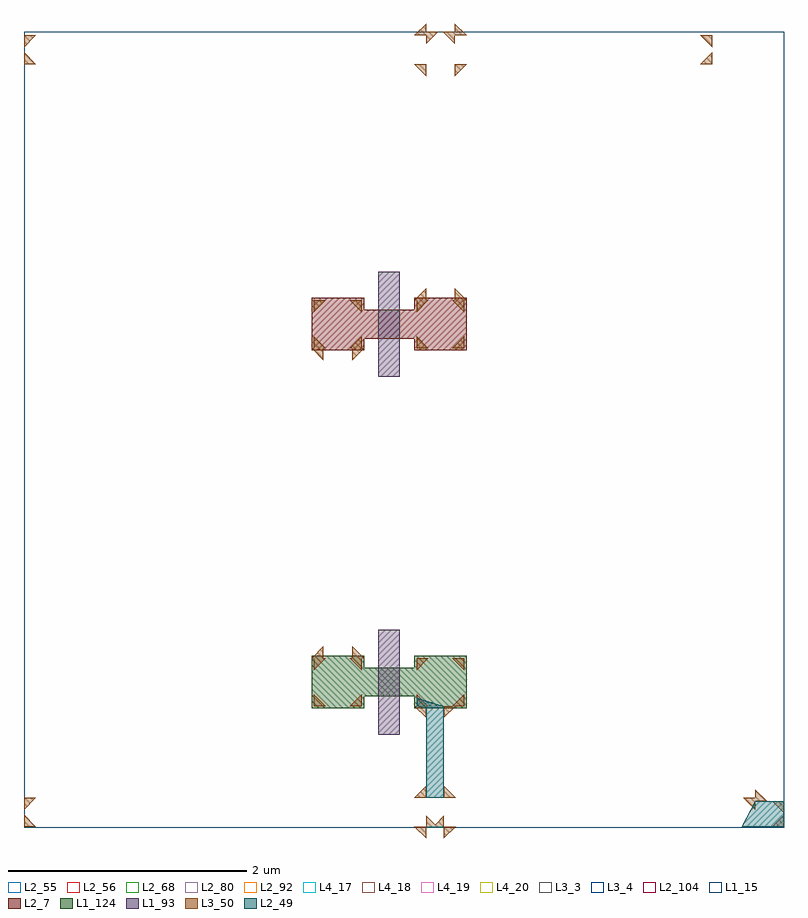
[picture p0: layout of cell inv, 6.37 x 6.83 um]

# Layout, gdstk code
import gdstk
lib = gdstk.Library(unit=1e-6, precision=1e-09)
def R(c, l, rs):  # rectangles x0, y0, x1, y1
    for r in rs: c.add(gdstk.rectangle(r[:2], r[2:], *l))
def P(c, l, *ps):  # polygons
    for p in ps: c.add(gdstk.Polygon(p, *l))
L1_15 = (1, 15)
L1_93 = (1, 93)
L1_124 = (1, 124)
L2_7 = (2, 7)
L2_49 = (2, 49)
L2_55 = (2, 55)
L2_56 = (2, 56)
L2_68 = (2, 68)
L2_80 = (2, 80)
L2_92 = (2, 92)
L2_104 = (2, 104)
L3_3 = (3, 3)
L3_4 = (3, 4)
L3_50 = (3, 50)
L4_17 = (4, 17)
L4_18 = (4, 18)
L4_19 = (4, 19)
L4_20 = (4, 20)

inv = lib.new_cell('inv')
P(inv, L1_124, [(3.04,1.46),(3.48,1.46),(3.48,1.56),(3.9,1.56),(3.9,1.46),(4.34,1.46),(4.34,1.9),(3.9,1.9),(3.9,1.8),(3.48,1.8),(3.48,1.9),(3.04,1.9)])
P(inv, L2_7, [(3.04,4.46),(3.48,4.46),(3.48,4.56),(3.9,4.56),(3.9,4.46),(4.34,4.46),(4.34,4.9),(3.9,4.9),(3.9,4.8),(3.48,4.8),(3.48,4.9),(3.04,4.9)])
R(inv, L2_49, [(4,0.46,4.15,0.47)])
P(inv, L2_49, [(6.644,0.47),(7,0.47),(7,0.68),(6.76,0.68)],
  [(3.92,1.48),(4,1.456),(4,0.71),(4.15,0.71),(4.15,1.48),(3.92,1.549)])
P(inv, L3_50, [(0.63,7),(0.73,7.1),(0.63,7.1)],
  [(0.63,6.86),(0.73,6.86),(0.63,6.96)],
  [(0.63,0.61),(0.73,0.71),(0.63,0.71)],
  [(0.63,0.47),(0.73,0.47),(0.63,0.57)],
  [(3.06,4.78),(3.16,4.88),(3.06,4.88)],
  [(3.04,4.48),(3.14,4.38),(3.14,4.48),(3.16,4.48),(3.06,4.58),(3.06,4.48)],
  [(3.04,1.88),(3.06,1.88),(3.06,1.78),(3.16,1.88),(3.14,1.88),(3.14,1.98)],
  [(3.06,1.48),(3.16,1.48),(3.06,1.58)],
  [(3.36,4.88),(3.46,4.78),(3.46,4.88)],
  [(3.36,1.48),(3.46,1.48),(3.46,1.58)],
  [(3.36,4.48),(3.38,4.48),(3.38,4.38),(3.48,4.48),(3.46,4.48),(3.46,4.58)],
  [(3.36,1.88),(3.46,1.78),(3.46,1.88),(3.48,1.88),(3.38,1.98),(3.38,1.88)],
  [(3.9,6.86),(4,6.76),(4,6.86)],
  [(3.9,0.71),(4,0.71),(4,0.81)],
  [(3.9,4.88),(3.92,4.88),(3.92,4.78),(4.02,4.88),(4,4.88),(4,4.98)],
  [(3.92,4.48),(4.02,4.48),(3.92,4.58)],
  [(3.92,1.78),(4.02,1.88),(3.92,1.88)],
  [(3.9,1.48),(4,1.38),(4,1.48),(4.02,1.48),(3.92,1.58),(3.92,1.48)],
  [(3.9,7.1),(4,7.1),(4,7.03),(4.1,7.13),(4,7.13),(4,7.2)],
  [(4.15,0.71),(4.25,0.71),(4.15,0.81)],
  [(3.9,0.47),(4,0.37),(4,0.46),(4.15,0.46),(4.15,0.37),(4.25,0.47),(4.15,0.47),(4.15,0.56),(4.075,0.485),(4,0.56),(4,0.47)],
  [(4.22,4.48),(4.32,4.48),(4.32,4.58)],
  [(4.22,1.88),(4.32,1.78),(4.32,1.88)],
  [(4.15,1.38),(4.25,1.48),(4.32,1.48),(4.32,1.58),(4.22,1.48),(4.15,1.48)],
  [(4.14,7.13),(4.24,7.03),(4.24,7.1),(4.34,7.1),(4.24,7.2),(4.24,7.13)],
  [(4.24,6.76),(4.34,6.86),(4.24,6.86)],
  [(4.22,4.88),(4.32,4.78),(4.32,4.88),(4.34,4.88),(4.24,4.98),(4.24,4.88)],
  [(6.3,7.1),(6.4,7),(6.4,7.1)],
  [(6.3,6.86),(6.4,6.86),(6.4,6.96)],
  [(6.66,0.71),(6.76,0.61),(6.76,0.68),(6.86,0.68),(6.76,0.78),(6.76,0.71)],
  [(6.9,0.68),(7,0.58),(7,0.68)],
  [(6.9,0.47),(7,0.47),(7,0.57)])
inv.add(gdstk.FlexPath([(3.815,0.46),(3.815,7.13)], 6.37, ends="flush", simple_path=True, layer=2, datatype=55))  # L2_55
inv.add(gdstk.FlexPath([(3.815,0.46),(3.815,7.13)], 6.37, ends="flush", simple_path=True, layer=2, datatype=56))  # L2_56
inv.add(gdstk.FlexPath([(3.815,0.46),(3.815,7.13)], 6.37, ends="flush", simple_path=True, layer=2, datatype=68))  # L2_68
inv.add(gdstk.FlexPath([(3.815,0.46),(3.815,7.13)], 6.37, ends="flush", simple_path=True, layer=2, datatype=80))  # L2_80
inv.add(gdstk.FlexPath([(3.815,0.46),(3.815,7.13)], 6.37, ends="flush", simple_path=True, layer=2, datatype=92))  # L2_92
inv.add(gdstk.FlexPath([(3.815,0.46),(3.815,7.13)], 6.37, ends="flush", simple_path=True, layer=4, datatype=17))  # L4_17
inv.add(gdstk.FlexPath([(3.815,0.46),(3.815,7.13)], 6.37, ends="flush", simple_path=True, layer=4, datatype=18))  # L4_18
inv.add(gdstk.FlexPath([(3.815,0.46),(3.815,7.13)], 6.37, ends="flush", simple_path=True, layer=4, datatype=19))  # L4_19
inv.add(gdstk.FlexPath([(3.815,0.46),(3.815,7.13)], 6.37, ends="flush", simple_path=True, layer=4, datatype=20))  # L4_20
inv.add(gdstk.FlexPath([(3.815,0.46),(3.815,7.13)], 6.37, ends="flush", simple_path=True, layer=3, datatype=3))  # L3_3
inv.add(gdstk.FlexPath([(3.815,0.46),(3.815,7.13)], 6.37, ends="flush", simple_path=True, layer=3, datatype=4))  # L3_4
inv.add(gdstk.FlexPath([(3.815,0.46),(3.815,7.13)], 6.37, ends="flush", simple_path=True, layer=2, datatype=104))  # L2_104
inv.add(gdstk.FlexPath([(3.69,4.24),(3.69,5.12)], 0.18, ends="flush", simple_path=True, layer=1, datatype=93))  # L1_93
inv.add(gdstk.FlexPath([(3.69,1.24),(3.69,2.12)], 0.18, ends="flush", simple_path=True, layer=1, datatype=93))  # L1_93
inv.add(gdstk.FlexPath([(3.815,0.46),(3.815,7.13)], 6.37, ends="flush", simple_path=True, layer=1, datatype=15))  # L1_15

lib.write_gds('inv.gds')
